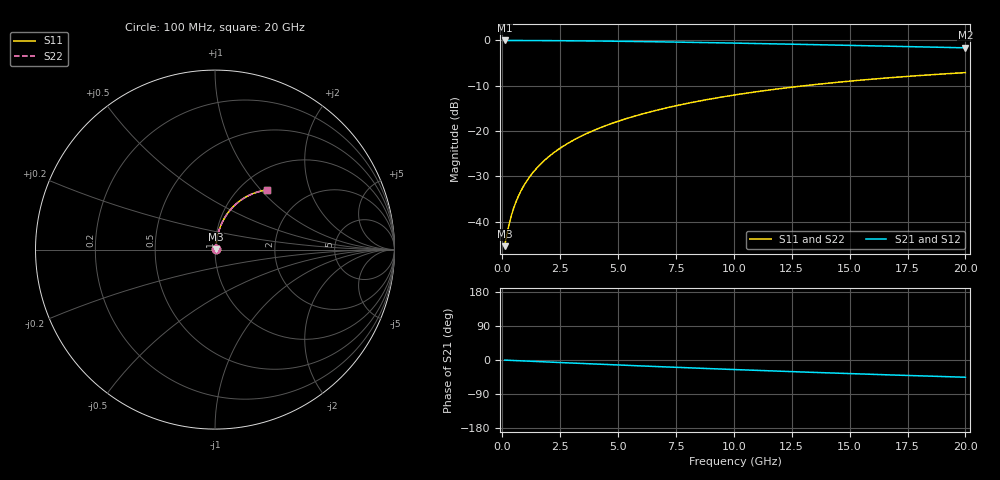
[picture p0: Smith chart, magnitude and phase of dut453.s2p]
! Touchstone file exported from HFSS 2024.1.0
!  File:  C:/UserFiles/LocalFiles/RDL_TSV_Batchsim/temp_RDL_bottom_453_1779685155.aedt
!  Generated:  01:01:40 PM May 25, 2026
!  Design:  RDL_bottom
!  Project:  temp_RDL_bottom_453_1779685155
!  Setup:  Setup1
!  Solution:  Sweep
! Variables:
!  dtsv = 10.80580581um
!  hbump = 3um
!  htsv = 98.19um
!  ldown = 657.47um
!  lrdl = 100um
!  p = 40
!  p1 = 40.43um
!  rhole = 1um
!  t = 450um
!  tdown = 3.58um
!  trdl = 3.915915916um
!  wdown = 14.39um
!  wrdl = 20um
# GHz S MA R 50.000000
! Terminal data exported
! Port[1] = RDL1_T1
! Port[2] = RDL1_T2
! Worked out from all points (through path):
!   200 points, 100 MHz to 20 GHz, reference 50 ohm
!   highest |S21| = -0.04 dB at 100 MHz (marker M1); lowest = -1.7 dB at 20 GHz (marker M2)
!   group delay of S21, straight-line fit = 6.31 ps
!   lowest |S11| = -45.4 dB at 100 MHz (marker M3), VSWR 1.01, Z = 50.5 + j0.277 ohm
!   |S11| at or under -10 dB: start of sweep to 13.09 GHz
!   |S22| runs from -45.4 to -7.1 dB; largest |S21 - S12| = 3.4e-15
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0.1  0.005364 30.8  0.9954 -0.3  0.9954 -0.3  0.005364 30.8
! Gamma 0 0 0 0
! Port Impedance 50 0 50 0
0.2  0.007221 49.0  0.9953 -0.6  0.9953 -0.6  0.007221 49.0
0.3  0.009475 58.8  0.9951 -0.8  0.9951 -0.8  0.009475 58.8
0.4  0.01186 64.5  0.9949 -1.1  0.9949 -1.1  0.01186 64.5
0.5  0.01429 68.3  0.9947 -1.4  0.9947 -1.4  0.01429 68.2
0.6  0.01674 70.9  0.9945 -1.6  0.9945 -1.6  0.01674 70.9
0.8  0.02168 74.3  0.9942 -2.2  0.9942 -2.2  0.02168 74.2
1.1  0.02917 77.1  0.9936 -3.0  0.9936 -3.0  0.02917 77.1
1.3  0.03419 78.2  0.9931 -3.5  0.9931 -3.5  0.03419 78.2
1.6  0.04177 79.2  0.9924 -4.3  0.9924 -4.3  0.04177 79.2
2.1  0.05444 79.9  0.9908 -5.6  0.9908 -5.6  0.05444 79.9
2.7  0.06969 79.9  0.9885 -7.2  0.9885 -7.2  0.06969 79.9
3.5  0.09001 79.3  0.9847 -9.3  0.9847 -9.3  0.09 79.2
4.2  0.1077 78.4  0.9807 -11.1  0.9807 -11.1  0.1077 78.4
5  0.1279 77.2  0.9754 -13.2  0.9754 -13.2  0.1279 77.2
5.9  0.1504 75.7  0.9687 -15.4  0.9687 -15.4  0.1503 75.7
6.8  0.1726 74.1  0.9613 -17.6  0.9613 -17.6  0.1726 74.0
8.3  0.2089 71.2  0.9479 -21.2  0.9479 -21.2  0.2089 71.2
10.1  0.251 67.7  0.9304 -25.4  0.9304 -25.4  0.2509 67.7
13.4  0.3226 61.3  0.8959 -32.6  0.8959 -32.6  0.3225 61.2
16.7  0.3858 55.0  0.8604 -39.3  0.8604 -39.3  0.3856 55.0
20  0.44 49.1  0.8255 -45.5  0.8255 -45.5  0.4398 49.0
